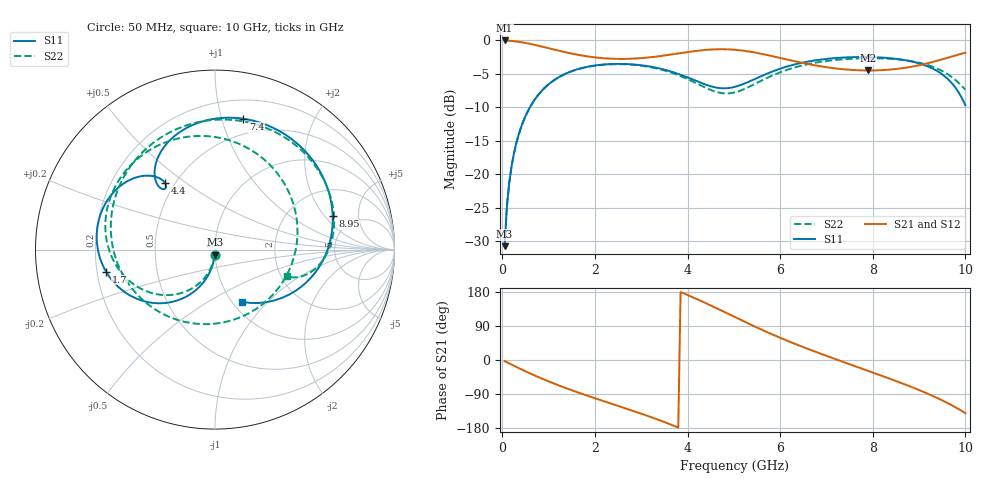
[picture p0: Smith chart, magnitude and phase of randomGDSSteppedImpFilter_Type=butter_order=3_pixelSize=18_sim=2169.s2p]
! freq	dB(S11)	phase(S11)	dB(S12)	phase(S12)
!  dB(S21)	phase(S21)	dB(S22)	phase(S22)
!S-par simulation data
#  GHz  S  DB  R 50
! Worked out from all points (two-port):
!   200 points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, 50 MHz to 10 GHz, reference 50 ohm
!   highest |S21| = -0.01 dB at 50 MHz (marker M1); lowest = -4.5 dB at 7.9 GHz (marker M2)
!   |S21| within 3 dB of the highest: start of sweep to 6.246 GHz; 9.407 GHz to end of sweep
!   lowest |S11| = -30.7 dB at 50 MHz (marker M3), VSWR 1.06, Z = 49.8 - j2.89 ohm
!   |S11| at or under -10 dB: start of sweep to 595.9 MHz
!   |S22| runs from -30.7 to -2.7 dB; largest |S21 - S12| = 0
!   S11 on the Smith chart (normalised r, x): 50 MHz: 1.00, -0.06; 1.7 GHz: 0.24, -0.09; 4.4 GHz: 0.44, +0.42; 7.4 GHz: 0.36, +1.18; 8.95 GHz: 3.50, +2.43; 10 GHz: 1.10, -0.72
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0.05  -30.73 -92.9  -0.01 -3.1  -0.01 -3.1  -30.73 -93.5
0.1  -24.74 -95.9  -0.02 -6.1  -0.02 -6.1  -24.74 -97.0
0.2  -18.81 -101.6  -0.08 -12.2  -0.08 -12.2  -18.82 -103.8
0.5  -11.32 -117.6  -0.38 -29.8  -0.38 -29.8  -11.33 -123.1
1.05  -6.27 -143.5  -1.25 -59.0  -1.25 -59.0  -6.28 -155.5
1.7  -4.16 -168.6  -2.23 -88.4  -2.23 -88.4  -4.18 170.7
1.75  -4.07 -170.4  -2.29 -90.5  -2.29 -90.5  -4.09 168.2
2.7  -3.53 160.2  -2.75 -129.1  -2.75 -129.1  -3.58 120.8
3.4  -4.19 141.6  -2.35 -159.1  -2.35 -159.1  -4.29 80.2
3.95  -5.39 130.3  -1.79 174.2  -1.79 174.2  -5.62 38.9
4.4  -6.63 126.9  -1.41 149.7  -1.41 149.7  -7.11 -6.0
5.05  -6.88 131.3  -1.41 111.6  -1.41 111.6  -7.71 -88.5
5.4  -5.94 130.8  -1.74 91.3  -1.74 91.3  -6.69 -130.0
5.9  -4.47 122.6  -2.46 63.9  -2.46 63.9  -5.04 -177.0
6.25  -3.70 113.6  -3.01 46.1  -3.01 46.1  -4.17 156.5
6.7  -3.04 100.4  -3.66 24.6  -3.66 24.6  -3.41 127.3
7.4  -2.54 77.7  -4.33 -6.7  -4.33 -6.7  -2.80 88.4
7.9  -2.48 60.1  -4.49 -28.6  -4.49 -28.6  -2.66 63.5
8.35  -2.64 42.7  -4.37 -48.5  -4.37 -48.5  -2.74 42.3
8.95  -3.33 15.9  -3.78 -76.8  -3.78 -76.8  -3.25 15.3
9.5  -5.07 -16.2  -2.82 -106.6  -2.82 -106.6  -4.57 -7.6
10  -9.69 -62.9  -1.85 -140.3  -1.85 -140.3  -7.36 -20.3
